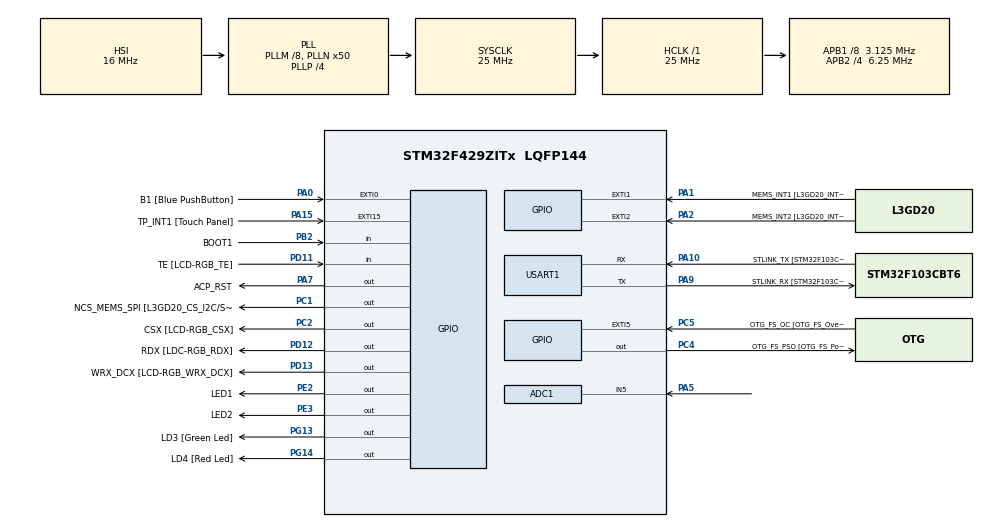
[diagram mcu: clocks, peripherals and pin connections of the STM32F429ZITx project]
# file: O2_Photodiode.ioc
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ADC1.Channel-0\#ChannelRegularConversion=ADC_CHANNEL_5
ADC1.ExternalTrigConv=ADC_EXTERNALTRIGCONV_T2_TRGO
ADC1.NbrOfConversionFlag=1
ADC1.Rank-0\#ChannelRegularConversion=1
ADC1.SamplingTime-0\#ChannelRegularConversion=ADC_SAMPLETIME_480CYCLES
ADC1.master=1
Mcu.Family=STM32F4
Mcu.Name=STM32F429ZITx
Mcu.Package=LQFP144
NVIC.ADC_IRQn=true\:0\:0\:false\:false\:true\:true\:true\:true
NVIC.PriorityGroup=NVIC_PRIORITYGROUP_0
NVIC.USART1_IRQn=true\:0\:0\:false\:false\:true\:true\:true\:true
PA0/WKUP.GPIO_Label=B1 [Blue PushButton]
PA0/WKUP.GPIO_ModeDefaultEXTI=GPIO_MODE_EVT_RISING
PA0/WKUP.GPIO_PuPd=GPIO_NOPULL
PA0/WKUP.Signal=GPXTI0
PA1.GPIO_Label=MEMS_INT1 [L3GD20_INT1]
PA1.GPIO_ModeDefaultEXTI=GPIO_MODE_EVT_RISING
PA1.GPIO_PuPd=GPIO_NOPULL
PA1.Signal=GPXTI1
PA10.GPIO_Label=STLINK_TX [STM32F103CBT6_PA2]
PA10.Mode=Asynchronous
PA10.Signal=USART1_RX
PA11.GPIO_Label=R4
PA11.GPIO_Mode=GPIO_MODE_AF_PP
PA11.GPIO_PuPd=GPIO_NOPULL
PA11.GPIO_Speed=GPIO_SPEED_FREQ_LOW
PA11.Signal=LTDC_R4
PA12.GPIO_Label=R5
PA12.GPIO_Mode=GPIO_MODE_AF_PP
PA12.GPIO_PuPd=GPIO_NOPULL
PA12.GPIO_Speed=GPIO_SPEED_FREQ_LOW
PA12.Signal=LTDC_R5
PA13.GPIO_Label=SWDIO
PA13.Signal=SYS_JTMS-SWDIO
PA14.GPIO_Label=SWCLK
PA14.Signal=SYS_JTCK-SWCLK
PA15.GPIO_Label=TP_INT1 [Touch Panel]
PA15.GPIO_ModeDefaultEXTI=GPIO_MODE_EVT_RISING
PA15.GPIO_PuPd=GPIO_NOPULL
PA15.Signal=GPXTI15
PA2.GPIO_Label=MEMS_INT2 [L3GD20_INT2]
PA2.GPIO_ModeDefaultEXTI=GPIO_MODE_EVT_RISING
PA2.GPIO_PuPd=GPIO_NOPULL
PA2.Signal=GPXTI2
PA3.GPIO_Label=B5
PA3.GPIO_Mode=GPIO_MODE_AF_PP
PA3.GPIO_PuPd=GPIO_NOPULL
PA3.GPIO_Speed=GPIO_SPEED_FREQ_LOW
PA3.Signal=LTDC_B5
PA4.GPIO_Label=VSYNC
PA4.GPIO_Mode=GPIO_MODE_AF_PP
PA4.GPIO_PuPd=GPIO_NOPULL
PA4.GPIO_Speed=GPIO_SPEED_FREQ_LOW
PA4.Signal=LTDC_VSYNC
PA5.Signal=ADCx_IN5
PA6.GPIO_Label=G2
PA6.GPIO_Mode=GPIO_MODE_AF_PP
PA6.GPIO_PuPd=GPIO_NOPULL
PA6.GPIO_Speed=GPIO_SPEED_FREQ_LOW
PA6.Signal=LTDC_G2
PA7.GPIO_Label=ACP_RST
PA7.GPIO_Mode=GPIO_MODE_OUTPUT_PP
PA7.GPIO_PuPd=GPIO_NOPULL
PA7.GPIO_Speed=GPIO_SPEED_FREQ_LOW
PA7.Signal=GPIO_Output
PA8.GPIO_Label=I2C3_SCL [ACP/RF_SCL]
PA8.GPIO_Mode=GPIO_MODE_AF_OD
PA8.GPIO_PuPd=GPIO_NOPULL
PA8.GPIO_Speed=GPIO_SPEED_FREQ_LOW
PA8.Signal=I2C3_SCL
PA9.GPIO_Label=STLINK_RX [STM32F103CBT6_PA3]
PA9.Mode=Asynchronous
PA9.Signal=USART1_TX
PB0.GPIO_Label=R3
PB0.GPIO_Mode=GPIO_MODE_AF_PP
PB0.GPIO_PuPd=GPIO_NOPULL
PB0.GPIO_Speed=GPIO_SPEED_FREQ_LOW
PB0.Signal=LTDC_R3
PB1.GPIO_Label=R6
PB1.GPIO_Mode=GPIO_MODE_AF_PP
PB1.GPIO_PuPd=GPIO_NOPULL
PB1.GPIO_Speed=GPIO_SPEED_FREQ_LOW
PB1.Signal=LTDC_R6
PB10.GPIO_Label=G4
PB10.GPIO_Mode=GPIO_MODE_AF_PP
PB10.GPIO_PuPd=GPIO_NOPULL
PB10.GPIO_Speed=GPIO_SPEED_FREQ_LOW
PB10.Signal=LTDC_G4
PB11.GPIO_Label=G5
PB11.GPIO_Mode=GPIO_MODE_AF_PP
PB11.GPIO_PuPd=GPIO_NOPULL
PB11.GPIO_Speed=GPIO_SPEED_FREQ_LOW
PB11.Signal=LTDC_G5
PB12.GPIO_Label=OTG_HS_ID
PB12.GPIO_Mode=GPIO_MODE_AF_PP
PB12.GPIO_PuPd=GPIO_NOPULL
PB12.GPIO_Speed=GPIO_SPEED_FREQ_LOW
PB12.Signal=USB_OTG_HS_ID
PB13.GPIO_Label=VBUS_HS
PB13.GPIO_Mode=GPIO_MODE_INPUT
PB13.GPIO_PuPd=GPIO_NOPULL
PB13.Signal=USB_OTG_HS_VBUS
PB14.GPIO_Label=OTG_HS_DM
PB14.GPIO_Mode=GPIO_MODE_AF_PP
PB14.GPIO_PuPd=GPIO_NOPULL
PB14.GPIO_Speed=GPIO_SPEED_FREQ_LOW
PB14.Signal=USB_OTG_HS_DM
PB15.GPIO_Label=OTG_HS_DP
PB15.GPIO_Mode=GPIO_MODE_AF_PP
PB15.GPIO_PuPd=GPIO_NOPULL
PB15.GPIO_Speed=GPIO_SPEED_FREQ_LOW
PB15.Signal=USB_OTG_HS_DP
PB2/BOOT1.GPIO_Label=BOOT1
PB2/BOOT1.GPIO_Mode=GPIO_MODE_INPUT
PB2/BOOT1.GPIO_PuPd=GPIO_NOPULL
PB2/BOOT1.Signal=GPIO_Input
PB5.GPIO_Label=SDCKE1
PB5.GPIO_Mode=GPIO_MODE_AF_PP
PB5.GPIO_PuPd=GPIO_NOPULL
PB5.GPIO_Speed=GPIO_SPEED_FREQ_VERY_HIGH
PB5.Signal=FMC_SDCKE1
PB6.GPIO_Label=SDNE1 [SDRAM_CS]
PB6.GPIO_Mode=GPIO_MODE_AF_PP
PB6.GPIO_PuPd=GPIO_NOPULL
PB6.GPIO_Speed=GPIO_SPEED_FREQ_VERY_HIGH
PB6.Signal=FMC_SDNE1
PB8.GPIO_Label=B6
PB8.GPIO_Mode=GPIO_MODE_AF_PP
PB8.GPIO_PuPd=GPIO_NOPULL
PB8.GPIO_Speed=GPIO_SPEED_FREQ_LOW
PB8.Signal=LTDC_B6
PB9.GPIO_Label=B7
PB9.GPIO_Mode=GPIO_MODE_AF_PP
PB9.GPIO_PuPd=GPIO_NOPULL
PB9.GPIO_Speed=GPIO_SPEED_FREQ_LOW
PB9.Signal=LTDC_B7
PC0.GPIO_Label=SDNWE
PC0.GPIO_Mode=GPIO_MODE_AF_PP
PC0.GPIO_PuPd=GPIO_NOPULL
PC0.GPIO_Speed=GPIO_SPEED_FREQ_VERY_HIGH
PC0.Signal=FMC_SDNWE
PC1.GPIO_Label=NCS_MEMS_SPI [L3GD20_CS_I2C/SPI]
PC1.GPIO_Mode=GPIO_MODE_OUTPUT_PP
PC1.GPIO_PuPd=GPIO_NOPULL
PC1.GPIO_Speed=GPIO_SPEED_FREQ_LOW
PC1.Signal=GPIO_Output
PC10.GPIO_Label=R2
PC10.GPIO_Mode=GPIO_MODE_AF_PP
PC10.GPIO_PuPd=GPIO_NOPULL
PC10.GPIO_Speed=GPIO_SPEED_FREQ_LOW
PC10.Signal=LTDC_R2
PC14/OSC32_IN.GPIO_Label=PC14-OSC32_IN
PC14/OSC32_IN.Signal=RCC_OSC32_IN
PC15/OSC32_OUT.GPIO_Label=PC15-OSC32_OUT
PC15/OSC32_OUT.Signal=RCC_OSC32_OUT
PC2.GPIO_Label=CSX [LCD-RGB_CSX]
PC2.GPIO_Mode=GPIO_MODE_OUTPUT_PP
PC2.GPIO_PuPd=GPIO_NOPULL
PC2.GPIO_Speed=GPIO_SPEED_FREQ_LOW
PC2.Signal=GPIO_Output
PC4.GPIO_Label=OTG_FS_PSO [OTG_FS_PowerSwitchOn]
PC4.GPIO_Mode=GPIO_MODE_OUTPUT_PP
PC4.GPIO_PuPd=GPIO_NOPULL
PC4.GPIO_Speed=GPIO_SPEED_FREQ_LOW
PC4.Signal=GPIO_Output
PC5.GPIO_Label=OTG_FS_OC [OTG_FS_OverCurrent]
PC5.GPIO_ModeDefaultEXTI=GPIO_MODE_EVT_RISING
PC5.Signal=GPXTI5
PC6.GPIO_Label=HSYNC
PC6.GPIO_Mode=GPIO_MODE_AF_PP
PC6.GPIO_PuPd=GPIO_NOPULL
PC6.GPIO_Speed=GPIO_SPEED_FREQ_LOW
PC6.Signal=LTDC_HSYNC
PC7.GPIO_Label=G6
PC7.GPIO_Mode=GPIO_MODE_AF_PP
PC7.GPIO_PuPd=GPIO_NOPULL
PC7.GPIO_Speed=GPIO_SPEED_FREQ_LOW
PC7.Signal=LTDC_G6
PC9.GPIO_Label=I2C3_SDA [ACP/RF_SDA]
PC9.GPIO_Mode=GPIO_MODE_AF_OD
PC9.GPIO_PuPd=GPIO_NOPULL
PC9.GPIO_Speed=GPIO_SPEED_FREQ_LOW
PC9.Signal=I2C3_SDA
PD0.GPIO_Label=D2
PD0.GPIO_Mode=GPIO_MODE_AF_PP
PD0.GPIO_PuPd=GPIO_NOPULL
PD0.GPIO_Speed=GPIO_SPEED_FREQ_VERY_HIGH
PD0.Signal=FMC_D2_DA2
PD1.GPIO_Label=D3
PD1.GPIO_Mode=GPIO_MODE_AF_PP
PD1.GPIO_PuPd=GPIO_NOPULL
PD1.GPIO_Speed=GPIO_SPEED_FREQ_VERY_HIGH
PD1.Signal=FMC_D3_DA3
PD10.GPIO_Label=D15
PD10.GPIO_Mode=GPIO_MODE_AF_PP
PD10.GPIO_PuPd=GPIO_NOPULL
PD10.GPIO_Speed=GPIO_SPEED_FREQ_VERY_HIGH
PD10.Signal=FMC_D15_DA15
PD11.GPIO_Label=TE [LCD-RGB_TE]
PD11.GPIO_Mode=GPIO_MODE_INPUT
PD11.GPIO_PuPd=GPIO_NOPULL
PD11.Signal=GPIO_Input
PD12.GPIO_Label=RDX [LDC-RGB_RDX]
PD12.GPIO_Mode=GPIO_MODE_OUTPUT_PP
PD12.GPIO_PuPd=GPIO_NOPULL
PD12.GPIO_Speed=GPIO_SPEED_FREQ_LOW
PD12.Signal=GPIO_Output
PD13.GPIO_Label=WRX_DCX [LCD-RGB_WRX_DCX]
PD13.GPIO_Mode=GPIO_MODE_OUTPUT_PP
PD13.GPIO_PuPd=GPIO_NOPULL
PD13.GPIO_Speed=GPIO_SPEED_FREQ_LOW
PD13.Signal=GPIO_Output
PD14.GPIO_Label=D0
PD14.GPIO_Mode=GPIO_MODE_AF_PP
PD14.GPIO_PuPd=GPIO_NOPULL
PD14.GPIO_Speed=GPIO_SPEED_FREQ_VERY_HIGH
PD14.Signal=FMC_D0_DA0
PD15.GPIO_Label=D1
PD15.GPIO_Mode=GPIO_MODE_AF_PP
PD15.GPIO_PuPd=GPIO_NOPULL
PD15.GPIO_Speed=GPIO_SPEED_FREQ_VERY_HIGH
PD15.Signal=FMC_D1_DA1
PD3.GPIO_Label=G7
PD3.GPIO_Mode=GPIO_MODE_AF_PP
PD3.GPIO_PuPd=GPIO_NOPULL
PD3.GPIO_Speed=GPIO_SPEED_FREQ_LOW
PD3.Signal=LTDC_G7
PD6.GPIO_Label=B2
PD6.GPIO_Mode=GPIO_MODE_AF_PP
PD6.GPIO_PuPd=GPIO_NOPULL
PD6.GPIO_Speed=GPIO_SPEED_FREQ_LOW
PD6.Signal=LTDC_B2
PD8.GPIO_Label=D13
PD8.GPIO_Mode=GPIO_MODE_AF_PP
PD8.GPIO_PuPd=GPIO_NOPULL
PD8.GPIO_Speed=GPIO_SPEED_FREQ_VERY_HIGH
PD8.Signal=FMC_D13_DA13
PD9.GPIO_Label=D14
PD9.GPIO_Mode=GPIO_MODE_AF_PP
PD9.GPIO_PuPd=GPIO_NOPULL
PD9.GPIO_Speed=GPIO_SPEED_FREQ_VERY_HIGH
PD9.Signal=FMC_D14_DA14
PE0.GPIO_Label=NBL0 [SDRAM_LDQM]
PE0.GPIO_Mode=GPIO_MODE_AF_PP
PE0.GPIO_PuPd=GPIO_NOPULL
PE0.GPIO_Speed=GPIO_SPEED_FREQ_VERY_HIGH
PE0.Signal=FMC_NBL0
PE1.GPIO_Label=NBL1 [SDRAM_UDQM]
PE1.GPIO_Mode=GPIO_MODE_AF_PP
PE1.GPIO_PuPd=GPIO_NOPULL
PE1.GPIO_Speed=GPIO_SPEED_FREQ_VERY_HIGH
PE1.Signal=FMC_NBL1
PE10.GPIO_Label=D7
PE10.GPIO_Mode=GPIO_MODE_AF_PP
PE10.GPIO_PuPd=GPIO_NOPULL
PE10.GPIO_Speed=GPIO_SPEED_FREQ_VERY_HIGH
PE10.Signal=FMC_D7_DA7
PE11.GPIO_Label=D8
PE11.GPIO_Mode=GPIO_MODE_AF_PP
PE11.GPIO_PuPd=GPIO_NOPULL
PE11.GPIO_Speed=GPIO_SPEED_FREQ_VERY_HIGH
PE11.Signal=FMC_D8_DA8
PE12.GPIO_Label=D9
PE12.GPIO_Mode=GPIO_MODE_AF_PP
PE12.GPIO_PuPd=GPIO_NOPULL
PE12.GPIO_Speed=GPIO_SPEED_FREQ_VERY_HIGH
PE12.Signal=FMC_D9_DA9
PE13.GPIO_Label=D10
PE13.GPIO_Mode=GPIO_MODE_AF_PP
PE13.GPIO_PuPd=GPIO_NOPULL
PE13.GPIO_Speed=GPIO_SPEED_FREQ_VERY_HIGH
PE13.Signal=FMC_D10_DA10
PE14.GPIO_Label=D11
PE14.GPIO_Mode=GPIO_MODE_AF_PP
PE14.GPIO_PuPd=GPIO_NOPULL
PE14.GPIO_Speed=GPIO_SPEED_FREQ_VERY_HIGH
PE14.Signal=FMC_D11_DA11
PE15.GPIO_Label=D12
PE15.GPIO_Mode=GPIO_MODE_AF_PP
PE15.GPIO_PuPd=GPIO_NOPULL
PE15.GPIO_Speed=GPIO_SPEED_FREQ_VERY_HIGH
PE15.Signal=FMC_D12_DA12
PE2.GPIO_Label=LED1
PE2.PinState=GPIO_PIN_SET
PE2.Signal=GPIO_Output
PE3.GPIO_Label=LED2
PE3.PinState=GPIO_PIN_SET
PE3.Signal=GPIO_Output
PE7.GPIO_Label=D4
PE7.GPIO_Mode=GPIO_MODE_AF_PP
PE7.GPIO_PuPd=GPIO_NOPULL
PE7.GPIO_Speed=GPIO_SPEED_FREQ_VERY_HIGH
PE7.Signal=FMC_D4_DA4
PE8.GPIO_Label=D5
PE8.GPIO_Mode=GPIO_MODE_AF_PP
PE8.GPIO_PuPd=GPIO_NOPULL
PE8.GPIO_Speed=GPIO_SPEED_FREQ_VERY_HIGH
PE8.Signal=FMC_D5_DA5
PE9.GPIO_Label=D6
PE9.GPIO_Mode=GPIO_MODE_AF_PP
PE9.GPIO_PuPd=GPIO_NOPULL
PE9.GPIO_Speed=GPIO_SPEED_FREQ_VERY_HIGH
PE9.Signal=FMC_D6_DA6
PF0.GPIO_Label=A0
PF0.GPIO_Mode=GPIO_MODE_AF_PP
PF0.GPIO_PuPd=GPIO_NOPULL
PF0.GPIO_Speed=GPIO_SPEED_FREQ_VERY_HIGH
PF0.Signal=FMC_A0
PF1.GPIO_Label=A1
PF1.GPIO_Mode=GPIO_MODE_AF_PP
PF1.GPIO_PuPd=GPIO_NOPULL
PF1.GPIO_Speed=GPIO_SPEED_FREQ_VERY_HIGH
PF1.Signal=FMC_A1
PF10.GPIO_Label=ENABLE [LCD-RGB_ENABLE]
PF10.GPIO_Mode=GPIO_MODE_AF_PP
PF10.GPIO_PuPd=GPIO_NOPULL
PF10.GPIO_Speed=GPIO_SPEED_FREQ_LOW
PF10.Signal=LTDC_DE
PF11.GPIO_Label=SDNRAS
PF11.GPIO_Mode=GPIO_MODE_AF_PP
PF11.GPIO_PuPd=GPIO_NOPULL
PF11.GPIO_Speed=GPIO_SPEED_FREQ_VERY_HIGH
PF11.Signal=FMC_SDNRAS
PF12.GPIO_Label=A6
PF12.GPIO_Mode=GPIO_MODE_AF_PP
PF12.GPIO_PuPd=GPIO_NOPULL
PF12.GPIO_Speed=GPIO_SPEED_FREQ_VERY_HIGH
PF12.Signal=FMC_A6
PF13.GPIO_Label=A7
PF13.GPIO_Mode=GPIO_MODE_AF_PP
PF13.GPIO_PuPd=GPIO_NOPULL
PF13.GPIO_Speed=GPIO_SPEED_FREQ_VERY_HIGH
PF13.Signal=FMC_A7
PF14.GPIO_Label=A8
PF14.GPIO_Mode=GPIO_MODE_AF_PP
PF14.GPIO_PuPd=GPIO_NOPULL
PF14.GPIO_Speed=GPIO_SPEED_FREQ_VERY_HIGH
PF14.Signal=FMC_A8
PF15.GPIO_Label=A9
PF15.GPIO_Mode=GPIO_MODE_AF_PP
PF15.GPIO_PuPd=GPIO_NOPULL
PF15.GPIO_Speed=GPIO_SPEED_FREQ_VERY_HIGH
PF15.Signal=FMC_A9
PF2.GPIO_Label=A2
PF2.GPIO_Mode=GPIO_MODE_AF_PP
PF2.GPIO_PuPd=GPIO_NOPULL
PF2.GPIO_Speed=GPIO_SPEED_FREQ_VERY_HIGH
PF2.Signal=FMC_A2
PF3.GPIO_Label=A3
PF3.GPIO_Mode=GPIO_MODE_AF_PP
PF3.GPIO_PuPd=GPIO_NOPULL
PF3.GPIO_Speed=GPIO_SPEED_FREQ_VERY_HIGH
PF3.Signal=FMC_A3
PF4.GPIO_Label=A4
PF4.GPIO_Mode=GPIO_MODE_AF_PP
PF4.GPIO_PuPd=GPIO_NOPULL
PF4.GPIO_Speed=GPIO_SPEED_FREQ_VERY_HIGH
PF4.Signal=FMC_A4
PF5.GPIO_Label=A5
PF5.GPIO_Mode=GPIO_MODE_AF_PP
PF5.GPIO_PuPd=GPIO_NOPULL
PF5.GPIO_Speed=GPIO_SPEED_FREQ_VERY_HIGH
PF5.Signal=FMC_A5
PF7.GPIO_Label=SPI5_SCK [L3GD20_SCL/SPC]
PF7.GPIO_Mode=GPIO_MODE_AF_PP
PF7.GPIO_PuPd=GPIO_NOPULL
PF7.GPIO_Speed=GPIO_SPEED_FREQ_LOW
PF7.Signal=SPI5_SCK
PF8.GPIO_Label=SPI5_MISO [L3GD20_SDO]
PF8.GPIO_Mode=GPIO_MODE_AF_PP
PF8.GPIO_PuPd=GPIO_NOPULL
PF8.GPIO_Speed=GPIO_SPEED_FREQ_LOW
PF8.Signal=SPI5_MISO
PF9.GPIO_Label=SPI5_MOSI [L3GD20_SDA/SDI/SDO]
PF9.GPIO_Mode=GPIO_MODE_AF_PP
PF9.GPIO_PuPd=GPIO_NOPULL
PF9.GPIO_Speed=GPIO_SPEED_FREQ_LOW
PF9.Signal=SPI5_MOSI
PG0.GPIO_Label=A10
PG0.GPIO_Mode=GPIO_MODE_AF_PP
PG0.GPIO_PuPd=GPIO_NOPULL
PG0.GPIO_Speed=GPIO_SPEED_FREQ_VERY_HIGH
PG0.Signal=FMC_A10
PG1.GPIO_Label=A11
PG1.GPIO_Mode=GPIO_MODE_AF_PP
PG1.GPIO_PuPd=GPIO_NOPULL
PG1.GPIO_Speed=GPIO_SPEED_FREQ_VERY_HIGH
PG1.Signal=FMC_A11
PG10.GPIO_Label=G3
PG10.GPIO_Mode=GPIO_MODE_AF_PP
PG10.GPIO_PuPd=GPIO_NOPULL
PG10.GPIO_Speed=GPIO_SPEED_FREQ_LOW
PG10.Signal=LTDC_G3
PG11.GPIO_Label=B3
PG11.GPIO_Mode=GPIO_MODE_AF_PP
PG11.GPIO_PuPd=GPIO_NOPULL
PG11.GPIO_Speed=GPIO_SPEED_FREQ_LOW
PG11.Signal=LTDC_B3
PG12.GPIO_Label=B4
PG12.GPIO_Mode=GPIO_MODE_AF_PP
PG12.GPIO_PuPd=GPIO_NOPULL
PG12.GPIO_Speed=GPIO_SPEED_FREQ_LOW
PG12.Signal=LTDC_B4
PG13.GPIO_Label=LD3 [Green Led]
PG13.GPIO_Mode=GPIO_MODE_OUTPUT_PP
PG13.GPIO_PuPd=GPIO_NOPULL
PG13.GPIO_Speed=GPIO_SPEED_FREQ_LOW
PG13.Signal=GPIO_Output
PG14.GPIO_Label=LD4 [Red Led]
PG14.GPIO_Mode=GPIO_MODE_OUTPUT_PP
PG14.GPIO_PuPd=GPIO_NOPULL
PG14.GPIO_Speed=GPIO_SPEED_FREQ_LOW
PG14.Signal=GPIO_Output
PG15.GPIO_Label=SDNCAS
PG15.GPIO_Mode=GPIO_MODE_AF_PP
PG15.GPIO_PuPd=GPIO_NOPULL
PG15.GPIO_Speed=GPIO_SPEED_FREQ_VERY_HIGH
PG15.Signal=FMC_SDNCAS
PG4.GPIO_Label=BA0
PG4.GPIO_Mode=GPIO_MODE_AF_PP
PG4.GPIO_PuPd=GPIO_NOPULL
PG4.GPIO_Speed=GPIO_SPEED_FREQ_VERY_HIGH
PG4.Signal=FMC_A14_BA0
PG5.GPIO_Label=BA1
PG5.GPIO_Mode=GPIO_MODE_AF_PP
PG5.GPIO_PuPd=GPIO_NOPULL
PG5.GPIO_Speed=GPIO_SPEED_FREQ_VERY_HIGH
PG5.Signal=FMC_A15_BA1
PG6.GPIO_Label=R7
PG6.GPIO_Mode=GPIO_MODE_AF_PP
PG6.GPIO_PuPd=GPIO_NOPULL
PG6.GPIO_Speed=GPIO_SPEED_FREQ_LOW
PG6.Signal=LTDC_R7
PG7.GPIO_Label=DOTCLK [LCT-RGB_DOTCLK]
PG7.GPIO_Mode=GPIO_MODE_AF_PP
PG7.GPIO_PuPd=GPIO_NOPULL
PG7.GPIO_Speed=GPIO_SPEED_FREQ_LOW
PG7.Signal=LTDC_CLK
PG8.GPIO_Label=SDCLK
PG8.GPIO_Mode=GPIO_MODE_AF_PP
PG8.GPIO_PuPd=GPIO_NOPULL
PG8.GPIO_Speed=GPIO_SPEED_FREQ_VERY_HIGH
PG8.Signal=FMC_SDCLK
PH0/OSC_IN.GPIO_Label=PH0-OSC_IN
PH0/OSC_IN.Signal=RCC_OSC_IN
PH1/OSC_OUT.GPIO_Label=PH1-OSC_OUT
PH1/OSC_OUT.Signal=RCC_OSC_OUT
ProjectManager.HeapSize=0x200
ProjectManager.StackSize=0x400
ProjectManager.TargetToolchain=STM32CubeIDE
RCC.48MHZClocksFreq_Value=14285714.285714285
RCC.AHBFreq_Value=25000000
RCC.APB1CLKDivider=RCC_HCLK_DIV8
RCC.APB1Freq_Value=3125000
RCC.APB1TimFreq_Value=6250000
RCC.APB2CLKDivider=RCC_HCLK_DIV4
RCC.APB2Freq_Value=6250000
RCC.APB2TimFreq_Value=12500000
RCC.CortexFreq_Value=25000000
RCC.HCLKFreq_Value=25000000
RCC.HSE_VALUE=8000000
RCC.HSI_VALUE=16000000
RCC.LSE_VALUE=32768
RCC.PLLM=8
RCC.PLLN=50
RCC.PLLP=RCC_PLLP_DIV4
RCC.PLLQ=7
RCC.SYSCLKFreq_VALUE=25000000
RCC.SYSCLKSource=RCC_SYSCLKSOURCE_PLLCLK
RCC.VCOOutputFreq_Value=100000000
SH.ADCx_IN5.0=ADC1_IN5,IN5
SH.FMC_A0.0=FMC_A0
SH.FMC_A1.0=FMC_A1
SH.FMC_A10.0=FMC_A10
SH.FMC_A11.0=FMC_A11
SH.FMC_A14_BA0.0=FMC_BA0
SH.FMC_A15_BA1.0=FMC_BA1
SH.FMC_A2.0=FMC_A2
SH.FMC_A3.0=FMC_A3
SH.FMC_A4.0=FMC_A4
SH.FMC_A5.0=FMC_A5
SH.FMC_A6.0=FMC_A6
SH.FMC_A7.0=FMC_A7
SH.FMC_A8.0=FMC_A8
SH.FMC_A9.0=FMC_A9
SH.FMC_D0_DA0.0=FMC_D0
SH.FMC_D10_DA10.0=FMC_D10
SH.FMC_D11_DA11.0=FMC_D11
SH.FMC_D12_DA12.0=FMC_D12
SH.FMC_D13_DA13.0=FMC_D13
SH.FMC_D14_DA14.0=FMC_D14
SH.FMC_D15_DA15.0=FMC_D15
SH.FMC_D1_DA1.0=FMC_D1
SH.FMC_D2_DA2.0=FMC_D2
SH.FMC_D3_DA3.0=FMC_D3
SH.FMC_D4_DA4.0=FMC_D4
SH.FMC_D5_DA5.0=FMC_D5
SH.FMC_D6_DA6.0=FMC_D6
SH.FMC_D7_DA7.0=FMC_D7
SH.FMC_D8_DA8.0=FMC_D8
SH.FMC_D9_DA9.0=FMC_D9
SH.FMC_NBL0.0=FMC_NBL0
SH.FMC_NBL1.0=FMC_NBL1
SH.FMC_SDCLK.0=FMC_SDCLK
SH.FMC_SDNCAS.0=FMC_SDNCAS
SH.FMC_SDNRAS.0=FMC_SDNRAS
SH.FMC_SDNWE.0=FMC_SDNWE
TIM2.Period=999
TIM2.Prescaler=24
TIM2.TIM_MasterOutputTrigger=TIM_TRGO_UPDATE
USART1.VirtualMode=VM_ASYNC
VP_TIM2_VS_ClockSourceINT.Mode=Internal
board=STM32F429I-DISC1

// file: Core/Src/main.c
/* USER CODE BEGIN Header */
/**
  ******************************************************************************
  * @file           : main.c
  * @brief          : Main program body
  ******************************************************************************
  * @attention
  *
  * Copyright (c) 2026 STMicroelectronics.
  * All rights reserved.
  *
  * This software is licensed under terms that can be found in the LICENSE file
  * in the root directory of this software component.
  * If no LICENSE file comes with this software, it is provided AS-IS.
  *
  ******************************************************************************
  */
/* USER CODE END Header */
#include "main.h"

/* USER CODE BEGIN Includes */
#include <stdio.h>
#include <stdlib.h>
#include <string.h>

/* USER CODE END Includes */

/* USER CODE BEGIN PD */
#define TIM_TICK_HZ   250000U
#define SLOTS         3U

/* USER CODE END PD */

ADC_HandleTypeDef hadc1;

TIM_HandleTypeDef htim2;

UART_HandleTypeDef huart1;

/* USER CODE BEGIN PV */
volatile uint16_t dark, led1_val, led2_val;
volatile int16_t sig1, sig2;
volatile uint8_t led1_en = 1, led2_en = 1;
volatile uint8_t frame_ready;
volatile uint8_t streaming;
static uint8_t phase;
static uint8_t rx_byte;
static char cmd_buf[32];
static uint8_t cmd_len;

/* USER CODE END PV */

void SystemClock_Config(void);
static void MX_GPIO_Init(void);
static void MX_ADC1_Init(void);
static void MX_TIM2_Init(void);
static void MX_USART1_UART_Init(void);

/* USER CODE BEGIN 0 */
void HAL_ADC_ConvCpltCallback(ADC_HandleTypeDef *hadc)
{
  uint16_t val = HAL_ADC_GetValue(hadc);

  switch (phase)
  {
  case 0:
    dark = val;
    if (led1_en)
      HAL_GPIO_WritePin(LED1_GPIO_Port, LED1_Pin, GPIO_PIN_RESET);
    phase = 1;
    break;

  case 1:
    led1_val = val;
    HAL_GPIO_WritePin(LED1_GPIO_Port, LED1_Pin, GPIO_PIN_SET);
    if (led2_en)
      HAL_GPIO_WritePin(LED2_GPIO_Port, LED2_Pin, GPIO_PIN_RESET);
    phase = 2;
    break;

  default:
    led2_val = val;
    HAL_GPIO_WritePin(LED2_GPIO_Port, LED2_Pin, GPIO_PIN_SET);
    sig1 = (int16_t)led1_val - (int16_t)dark;
    sig2 = (int16_t)led2_val - (int16_t)dark;
    frame_ready = 1;
    phase = 0;
    break;
  }
}

static void set_rate(uint32_t fps)
{
  if (fps < 10)
    fps = 10;
  if (fps > 200)
    fps = 200;

  __HAL_TIM_SET_AUTORELOAD(&htim2, TIM_TICK_HZ / (SLOTS * fps) - 1);
  __HAL_TIM_SET_COUNTER(&htim2, 0);
}

/* START | STOP | LED,<mask> | RATE,<fps> */
static void handle_cmd(const char *cmd)
{
  if (strcmp(cmd, "START") == 0)
  {
    streaming = 1;
  }
  else if (strcmp(cmd, "STOP") == 0)
  {
    streaming = 0;
  }
  else if (strncmp(cmd, "LED,", 4) == 0)
  {
    int mask = atoi(cmd + 4);
    led1_en = mask & 1;
    led2_en = (mask >> 1) & 1;
  }
  else if (strncmp(cmd, "RATE,", 5) == 0)
  {
    set_rate((uint32_t)atoi(cmd + 5));
  }
}

void HAL_UART_RxCpltCallback(UART_HandleTypeDef *huart)
{
  if (rx_byte == '\n' || rx_byte == '\r')
  {
    cmd_buf[cmd_len] = '\0';
    if (cmd_len > 0)
      handle_cmd(cmd_buf);
    cmd_len = 0;
  }
  else if (cmd_len < sizeof(cmd_buf) - 1)
  {
    cmd_buf[cmd_len++] = (char)rx_byte;
  }

  HAL_UART_Receive_IT(huart, &rx_byte, 1);
}

/* USER CODE END 0 */

int main(void)
{

  /* MCU Configuration--------------------------------------------------------*/

  /* Reset of all peripherals, Initializes the Flash interface and the Systick. */
  HAL_Init();

  /* Configure the system clock */
  SystemClock_Config();

  /* Initialize all configured peripherals */
  MX_GPIO_Init();
  MX_ADC1_Init();
  MX_TIM2_Init();
  MX_USART1_UART_Init();
  /* USER CODE BEGIN 2 */
  HAL_ADC_Start_IT(&hadc1);
  HAL_TIM_Base_Start(&htim2);
  HAL_UART_Receive_IT(&huart1, &rx_byte, 1);

  /* USER CODE END 2 */

  /* Infinite loop */
  while (1)
  {

    /* USER CODE BEGIN 3 */
    /* hat hatasindan sonra alim durursa yeniden baslat */
    if (huart1.RxState == HAL_UART_STATE_READY)
      HAL_UART_Receive_IT(&huart1, &rx_byte, 1);

    if (frame_ready)
    {
      frame_ready = 0;
      if (streaming)
      {
        char line[32];
        int n = snprintf(line, sizeof(line), "%u,%u,%u\n",
                         (unsigned)dark, (unsigned)led1_val, (unsigned)led2_val);
        HAL_UART_Transmit(&huart1, (uint8_t *)line, (uint16_t)n, 10);
      }
    }
  }
  /* USER CODE END 3 */
}

void SystemClock_Config(void)
{
  RCC_OscInitTypeDef RCC_OscInitStruct = {0};
  RCC_ClkInitTypeDef RCC_ClkInitStruct = {0};

  /** Configure the main internal regulator output voltage
  */
  __HAL_RCC_PWR_CLK_ENABLE();
  __HAL_PWR_VOLTAGESCALING_CONFIG(PWR_REGULATOR_VOLTAGE_SCALE3);

  /** Initializes the RCC Oscillators according to the specified parameters
  * in the RCC_OscInitTypeDef structure.
  */
  RCC_OscInitStruct.OscillatorType = RCC_OSCILLATORTYPE_HSI;
  RCC_OscInitStruct.HSIState = RCC_HSI_ON;
  RCC_OscInitStruct.HSICalibrationValue = RCC_HSICALIBRATION_DEFAULT;
  RCC_OscInitStruct.PLL.PLLState = RCC_PLL_ON;
  RCC_OscInitStruct.PLL.PLLSource = RCC_PLLSOURCE_HSI;
  RCC_OscInitStruct.PLL.PLLM = 8;
  RCC_OscInitStruct.PLL.PLLN = 50;
  RCC_OscInitStruct.PLL.PLLP = RCC_PLLP_DIV4;
  RCC_OscInitStruct.PLL.PLLQ = 7;
  if (HAL_RCC_OscConfig(&RCC_OscInitStruct) != HAL_OK)
  {
    Error_Handler();
  }

  /** Initializes the CPU, AHB and APB buses clocks
  */
  RCC_ClkInitStruct.ClockType = RCC_CLOCKTYPE_HCLK|RCC_CLOCKTYPE_SYSCLK
                              |RCC_CLOCKTYPE_PCLK1|RCC_CLOCKTYPE_PCLK2;
  RCC_ClkInitStruct.SYSCLKSource = RCC_SYSCLKSOURCE_PLLCLK;
  RCC_ClkInitStruct.AHBCLKDivider = RCC_SYSCLK_DIV1;
  RCC_ClkInitStruct.APB1CLKDivider = RCC_HCLK_DIV8;
  RCC_ClkInitStruct.APB2CLKDivider = RCC_HCLK_DIV4;

  if (HAL_RCC_ClockConfig(&RCC_ClkInitStruct, FLASH_LATENCY_0) != HAL_OK)
  {
    Error_Handler();
  }
}

static void MX_ADC1_Init(void)
{

  ADC_ChannelConfTypeDef sConfig = {0};

  /** Configure the global features of the ADC (Clock, Resolution, Data Alignment and number of conversion)
  */
  hadc1.Instance = ADC1;
  hadc1.Init.ClockPrescaler = ADC_CLOCK_SYNC_PCLK_DIV2;
  hadc1.Init.Resolution = ADC_RESOLUTION_12B;
  hadc1.Init.ScanConvMode = DISABLE;
  hadc1.Init.ContinuousConvMode = DISABLE;
  hadc1.Init.DiscontinuousConvMode = DISABLE;
  hadc1.Init.ExternalTrigConvEdge = ADC_EXTERNALTRIGCONVEDGE_RISING;
  hadc1.Init.ExternalTrigConv = ADC_EXTERNALTRIGCONV_T2_TRGO;
  hadc1.Init.DataAlign = ADC_DATAALIGN_RIGHT;
  hadc1.Init.NbrOfConversion = 1;
  hadc1.Init.DMAContinuousRequests = DISABLE;
  hadc1.Init.EOCSelection = ADC_EOC_SINGLE_CONV;
  if (HAL_ADC_Init(&hadc1) != HAL_OK)
  {
    Error_Handler();
  }

  /** Configure for the selected ADC regular channel its corresponding rank in the sequencer and its sample time.
  */
  sConfig.Channel = ADC_CHANNEL_5;
  sConfig.Rank = 1;
  sConfig.SamplingTime = ADC_SAMPLETIME_480CYCLES;
  if (HAL_ADC_ConfigChannel(&hadc1, &sConfig) != HAL_OK)
  {
    Error_Handler();
  }

}

static void MX_TIM2_Init(void)
{

  TIM_ClockConfigTypeDef sClockSourceConfig = {0};
  TIM_MasterConfigTypeDef sMasterConfig = {0};

  htim2.Instance = TIM2;
  htim2.Init.Prescaler = 24;
  htim2.Init.CounterMode = TIM_COUNTERMODE_UP;
  htim2.Init.Period = 999;
  htim2.Init.ClockDivision = TIM_CLOCKDIVISION_DIV1;
  htim2.Init.AutoReloadPreload = TIM_AUTORELOAD_PRELOAD_DISABLE;
  if (HAL_TIM_Base_Init(&htim2) != HAL_OK)
  {
    Error_Handler();
  }
  sClockSourceConfig.ClockSource = TIM_CLOCKSOURCE_INTERNAL;
  if (HAL_TIM_ConfigClockSource(&htim2, &sClockSourceConfig) != HAL_OK)
  {
    Error_Handler();
  }
  sMasterConfig.MasterOutputTrigger = TIM_TRGO_UPDATE;
  sMasterConfig.MasterSlaveMode = TIM_MASTERSLAVEMODE_DISABLE;
  if (HAL_TIMEx_MasterConfigSynchronization(&htim2, &sMasterConfig) != HAL_OK)
  {
    Error_Handler();
  }

}

static void MX_USART1_UART_Init(void)
{

  huart1.Instance = USART1;
  huart1.Init.BaudRate = 115200;
  huart1.Init.WordLength = UART_WORDLENGTH_8B;
  huart1.Init.StopBits = UART_STOPBITS_1;
  huart1.Init.Parity = UART_PARITY_NONE;
  huart1.Init.Mode = UART_MODE_TX_RX;
  huart1.Init.HwFlowCtl = UART_HWCONTROL_NONE;
  huart1.Init.OverSampling = UART_OVERSAMPLING_16;
  if (HAL_UART_Init(&huart1) != HAL_OK)
  {
    Error_Handler();
  }

}

static void MX_GPIO_Init(void)
{
  GPIO_InitTypeDef GPIO_InitStruct = {0};

  /* GPIO Ports Clock Enable */
  __HAL_RCC_GPIOE_CLK_ENABLE();
  __HAL_RCC_GPIOC_CLK_ENABLE();
  __HAL_RCC_GPIOF_CLK_ENABLE();
  __HAL_RCC_GPIOH_CLK_ENABLE();
  __HAL_RCC_GPIOA_CLK_ENABLE();
  __HAL_RCC_GPIOB_CLK_ENABLE();
  __HAL_RCC_GPIOG_CLK_ENABLE();
  __HAL_RCC_GPIOD_CLK_ENABLE();

  /*Configure GPIO pin Output Level */
  HAL_GPIO_WritePin(GPIOE, LED1_Pin|LED2_Pin, GPIO_PIN_SET);

  /*Configure GPIO pin Output Level */
  HAL_GPIO_WritePin(GPIOC, NCS_MEMS_SPI_Pin|CSX_Pin|OTG_FS_PSO_Pin, GPIO_PIN_RESET);

  /*Configure GPIO pin Output Level */
  HAL_GPIO_WritePin(ACP_RST_GPIO_Port, ACP_RST_Pin, GPIO_PIN_RESET);

  /*Configure GPIO pin Output Level */
  HAL_GPIO_WritePin(GPIOD, RDX_Pin|WRX_DCX_Pin, GPIO_PIN_RESET);

  /*Configure GPIO pin Output Level */
  HAL_GPIO_WritePin(GPIOG, LD3_Pin|LD4_Pin, GPIO_PIN_RESET);

  /*Configure GPIO pins : LED1_Pin LED2_Pin */
  GPIO_InitStruct.Pin = LED1_Pin|LED2_Pin;
  GPIO_InitStruct.Mode = GPIO_MODE_OUTPUT_PP;
  GPIO_InitStruct.Pull = GPIO_NOPULL;
  GPIO_InitStruct.Speed = GPIO_SPEED_FREQ_LOW;
  HAL_GPIO_Init(GPIOE, &GPIO_InitStruct);

  /*Configure GPIO pins : A0_Pin A1_Pin A2_Pin A3_Pin
                           A4_Pin A5_Pin SDNRAS_Pin A6_Pin
                           A7_Pin A8_Pin A9_Pin */
  GPIO_InitStruct.Pin = A0_Pin|A1_Pin|A2_Pin|A3_Pin
                          |A4_Pin|A5_Pin|SDNRAS_Pin|A6_Pin
                          |A7_Pin|A8_Pin|A9_Pin;
  GPIO_InitStruct.Mode = GPIO_MODE_AF_PP;
  GPIO_InitStruct.Pull = GPIO_NOPULL;
  GPIO_InitStruct.Speed = GPIO_SPEED_FREQ_VERY_HIGH;
  GPIO_InitStruct.Alternate = GPIO_AF12_FMC;
  HAL_GPIO_Init(GPIOF, &GPIO_InitStruct);

  /*Configure GPIO pins : SPI5_SCK_Pin SPI5_MISO_Pin SPI5_MOSI_Pin */
  GPIO_InitStruct.Pin = SPI5_SCK_Pin|SPI5_MISO_Pin|SPI5_MOSI_Pin;
  GPIO_InitStruct.Mode = GPIO_MODE_AF_PP;
  GPIO_InitStruct.Pull = GPIO_NOPULL;
  GPIO_InitStruct.Speed = GPIO_SPEED_FREQ_LOW;
  GPIO_InitStruct.Alternate = GPIO_AF5_SPI5;
  HAL_GPIO_Init(GPIOF, &GPIO_InitStruct);

  /*Configure GPIO pin : ENABLE_Pin */
  GPIO_InitStruct.Pin = ENABLE_Pin;
  GPIO_InitStruct.Mode = GPIO_MODE_AF_PP;
  GPIO_InitStruct.Pull = GPIO_NOPULL;
  GPIO_InitStruct.Speed = GPIO_SPEED_FREQ_LOW;
  GPIO_InitStruct.Alternate = GPIO_AF14_LTDC;
  HAL_GPIO_Init(ENABLE_GPIO_Port, &GPIO_InitStruct);

  /*Configure GPIO pin : SDNWE_Pin */
  GPIO_InitStruct.Pin = SDNWE_Pin;
  GPIO_InitStruct.Mode = GPIO_MODE_AF_PP;
  GPIO_InitStruct.Pull = GPIO_NOPULL;
  GPIO_InitStruct.Speed = GPIO_SPEED_FREQ_VERY_HIGH;
  GPIO_InitStruct.Alternate = GPIO_AF12_FMC;
  HAL_GPIO_Init(SDNWE_GPIO_Port, &GPIO_InitStruct);

  /*Configure GPIO pins : NCS_MEMS_SPI_Pin CSX_Pin OTG_FS_PSO_Pin */
  GPIO_InitStruct.Pin = NCS_MEMS_SPI_Pin|CSX_Pin|OTG_FS_PSO_Pin;
  GPIO_InitStruct.Mode = GPIO_MODE_OUTPUT_PP;
  GPIO_InitStruct.Pull = GPIO_NOPULL;
  GPIO_InitStruct.Speed = GPIO_SPEED_FREQ_LOW;
  HAL_GPIO_Init(GPIOC, &GPIO_InitStruct);

  /*Configure GPIO pins : B1_Pin MEMS_INT1_Pin MEMS_INT2_Pin TP_INT1_Pin */
  GPIO_InitStruct.Pin = B1_Pin|MEMS_INT1_Pin|MEMS_INT2_Pin|TP_INT1_Pin;
  GPIO_InitStruct.Mode = GPIO_MODE_EVT_RISING;
  GPIO_InitStruct.Pull = GPIO_NOPULL;
  HAL_GPIO_Init(GPIOA, &GPIO_InitStruct);

  /*Configure GPIO pins : B5_Pin VSYNC_Pin G2_Pin R4_Pin
                           R5_Pin */
  GPIO_InitStruct.Pin = B5_Pin|VSYNC_Pin|G2_Pin|R4_Pin
                          |R5_Pin;
  GPIO_InitStruct.Mode = GPIO_MODE_AF_PP;
  GPIO_InitStruct.Pull = GPIO_NOPULL;
  GPIO_InitStruct.Speed = GPIO_SPEED_FREQ_LOW;
  GPIO_InitStruct.Alternate = GPIO_AF14_LTDC;
  HAL_GPIO_Init(GPIOA, &GPIO_InitStruct);

  /*Configure GPIO pin : ACP_RST_Pin */
  GPIO_InitStruct.Pin = ACP_RST_Pin;
  GPIO_InitStruct.Mode = GPIO_MODE_OUTPUT_PP;
  GPIO_InitStruct.Pull = GPIO_NOPULL;
  GPIO_InitStruct.Speed = GPIO_SPEED_FREQ_LOW;
  HAL_GPIO_Init(ACP_RST_GPIO_Port, &GPIO_InitStruct);

  /*Configure GPIO pin : OTG_FS_OC_Pin */
  GPIO_InitStruct.Pin = OTG_FS_OC_Pin;
  GPIO_InitStruct.Mode = GPIO_MODE_EVT_RISING;
  GPIO_InitStruct.Pull = GPIO_NOPULL;
  HAL_GPIO_Init(OTG_FS_OC_GPIO_Port, &GPIO_InitStruct);

  /*Configure GPIO pins : R3_Pin R6_Pin */
  GPIO_InitStruct.Pin = R3_Pin|R6_Pin;
  GPIO_InitStruct.Mode = GPIO_MODE_AF_PP;
  GPIO_InitStruct.Pull = GPIO_NOPULL;
  GPIO_InitStruct.Speed = GPIO_SPEED_FREQ_LOW;
  GPIO_InitStruct.Alternate = GPIO_AF9_LTDC;
  HAL_GPIO_Init(GPIOB, &GPIO_InitStruct);

  /*Configure GPIO pin : BOOT1_Pin */
  GPIO_InitStruct.Pin = BOOT1_Pin;
  GPIO_InitStruct.Mode = GPIO_MODE_INPUT;
  GPIO_InitStruct.Pull = GPIO_NOPULL;
  HAL_GPIO_Init(BOOT1_GPIO_Port, &GPIO_InitStruct);

  /*Configure GPIO pins : A10_Pin A11_Pin BA0_Pin BA1_Pin
                           SDCLK_Pin SDNCAS_Pin */
  GPIO_InitStruct.Pin = A10_Pin|A11_Pin|BA0_Pin|BA1_Pin
                          |SDCLK_Pin|SDNCAS_Pin;
  GPIO_InitStruct.Mode = GPIO_MODE_AF_PP;
  GPIO_InitStruct.Pull = GPIO_NOPULL;
  GPIO_InitStruct.Speed = GPIO_SPEED_FREQ_VERY_HIGH;
  GPIO_InitStruct.Alternate = GPIO_AF12_FMC;
  HAL_GPIO_Init(GPIOG, &GPIO_InitStruct);

  /*Configure GPIO pins : D4_Pin D5_Pin D6_Pin D7_Pin
                           D8_Pin D9_Pin D10_Pin D11_Pin
                           D12_Pin NBL0_Pin NBL1_Pin */
  GPIO_InitStruct.Pin = D4_Pin|D5_Pin|D6_Pin|D7_Pin
                          |D8_Pin|D9_Pin|D10_Pin|D11_Pin
                          |D12_Pin|NBL0_Pin|NBL1_Pin;
  GPIO_InitStruct.Mode = GPIO_MODE_AF_PP;
  GPIO_InitStruct.Pull = GPIO_NOPULL;
  GPIO_InitStruct.Speed = GPIO_SPEED_FREQ_VERY_HIGH;
  GPIO_InitStruct.Alternate = GPIO_AF12_FMC;
  HAL_GPIO_Init(GPIOE, &GPIO_InitStruct);

  /*Configure GPIO pins : G4_Pin G5_Pin B6_Pin B7_Pin */
  GPIO_InitStruct.Pin = G4_Pin|G5_Pin|B6_Pin|B7_Pin;
  GPIO_InitStruct.Mode = GPIO_MODE_AF_PP;
  GPIO_InitStruct.Pull = GPIO_NOPULL;
  GPIO_InitStruct.Speed = GPIO_SPEED_FREQ_LOW;
  GPIO_InitStruct.Alternate = GPIO_AF14_LTDC;
  HAL_GPIO_Init(GPIOB, &GPIO_InitStruct);

  /*Configure GPIO pins : OTG_HS_ID_Pin OTG_HS_DM_Pin OTG_HS_DP_Pin */
  GPIO_InitStruct.Pin = OTG_HS_ID_Pin|OTG_HS_DM_Pin|OTG_HS_DP_Pin;
  GPIO_InitStruct.Mode = GPIO_MODE_AF_PP;
  GPIO_InitStruct.Pull = GPIO_NOPULL;
  GPIO_InitStruct.Speed = GPIO_SPEED_FREQ_LOW;
  GPIO_InitStruct.Alternate = GPIO_AF12_OTG_HS_FS;
  HAL_GPIO_Init(GPIOB, &GPIO_InitStruct);

  /*Configure GPIO pin : VBUS_HS_Pin */
  GPIO_InitStruct.Pin = VBUS_HS_Pin;
  GPIO_InitStruct.Mode = GPIO_MODE_INPUT;
  GPIO_InitStruct.Pull = GPIO_NOPULL;
  HAL_GPIO_Init(VBUS_HS_GPIO_Port, &GPIO_InitStruct);

  /*Configure GPIO pins : D13_Pin D14_Pin D15_Pin D0_Pin
                           D1_Pin D2_Pin D3_Pin */
  GPIO_InitStruct.Pin = D13_Pin|D14_Pin|D15_Pin|D0_Pin
                          |D1_Pin|D2_Pin|D3_Pin;
  GPIO_InitStruct.Mode = GPIO_MODE_AF_PP;
  GPIO_InitStruct.Pull = GPIO_NOPULL;
  GPIO_InitStruct.Speed = GPIO_SPEED_FREQ_VERY_HIGH;
  GPIO_InitStruct.Alternate = GPIO_AF12_FMC;
  HAL_GPIO_Init(GPIOD, &GPIO_InitStruct);

  /*Configure GPIO pin : TE_Pin */
  GPIO_InitStruct.Pin = TE_Pin;
  GPIO_InitStruct.Mode = GPIO_MODE_INPUT;
  GPIO_InitStruct.Pull = GPIO_NOPULL;
  HAL_GPIO_Init(TE_GPIO_Port, &GPIO_InitStruct);

  /*Configure GPIO pins : RDX_Pin WRX_DCX_Pin */
  GPIO_InitStruct.Pin = RDX_Pin|WRX_DCX_Pin;
  GPIO_InitStruct.Mode = GPIO_MODE_OUTPUT_PP;
  GPIO_InitStruct.Pull = GPIO_NOPULL;
  GPIO_InitStruct.Speed = GPIO_SPEED_FREQ_LOW;
  HAL_GPIO_Init(GPIOD, &GPIO_InitStruct);

  /*Configure GPIO pins : R7_Pin DOTCLK_Pin B3_Pin */
  GPIO_InitStruct.Pin = R7_Pin|DOTCLK_Pin|B3_Pin;
  GPIO_InitStruct.Mode = GPIO_MODE_AF_PP;
  GPIO_InitStruct.Pull = GPIO_NOPULL;
  GPIO_InitStruct.Speed = GPIO_SPEED_FREQ_LOW;
  GPIO_InitStruct.Alternate = GPIO_AF14_LTDC;
  HAL_GPIO_Init(GPIOG, &GPIO_InitStruct);

  /*Configure GPIO pins : HSYNC_Pin G6_Pin R2_Pin */
  GPIO_InitStruct.Pin = HSYNC_Pin|G6_Pin|R2_Pin;
  GPIO_InitStruct.Mode = GPIO_MODE_AF_PP;
  GPIO_InitStruct.Pull = GPIO_NOPULL;
  GPIO_InitStruct.Speed = GPIO_SPEED_FREQ_LOW;
  GPIO_InitStruct.Alternate = GPIO_AF14_LTDC;
  HAL_GPIO_Init(GPIOC, &GPIO_InitStruct);

  /*Configure GPIO pin : I2C3_SDA_Pin */
  GPIO_InitStruct.Pin = I2C3_SDA_Pin;
  GPIO_InitStruct.Mode = GPIO_MODE_AF_OD;
  GPIO_InitStruct.Pull = GPIO_NOPULL;
  GPIO_InitStruct.Speed = GPIO_SPEED_FREQ_LOW;
  GPIO_InitStruct.Alternate = GPIO_AF4_I2C3;
  HAL_GPIO_Init(I2C3_SDA_GPIO_Port, &GPIO_InitStruct);

  /*Configure GPIO pin : I2C3_SCL_Pin */
  GPIO_InitStruct.Pin = I2C3_SCL_Pin;
  GPIO_InitStruct.Mode = GPIO_MODE_AF_OD;
  GPIO_InitStruct.Pull = GPIO_NOPULL;
  GPIO_InitStruct.Speed = GPIO_SPEED_FREQ_LOW;
  GPIO_InitStruct.Alternate = GPIO_AF4_I2C3;
  HAL_GPIO_Init(I2C3_SCL_GPIO_Port, &GPIO_InitStruct);

  /*Configure GPIO pins : G7_Pin B2_Pin */
  GPIO_InitStruct.Pin = G7_Pin|B2_Pin;
  GPIO_InitStruct.Mode = GPIO_MODE_AF_PP;
  GPIO_InitStruct.Pull = GPIO_NOPULL;
  GPIO_InitStruct.Speed = GPIO_SPEED_FREQ_LOW;
  GPIO_InitStruct.Alternate = GPIO_AF14_LTDC;
  HAL_GPIO_Init(GPIOD, &GPIO_InitStruct);

  /*Configure GPIO pins : G3_Pin B4_Pin */
  GPIO_InitStruct.Pin = G3_Pin|B4_Pin;
  GPIO_InitStruct.Mode = GPIO_MODE_AF_PP;
  GPIO_InitStruct.Pull = GPIO_NOPULL;
  GPIO_InitStruct.Speed = GPIO_SPEED_FREQ_LOW;
  GPIO_InitStruct.Alternate = GPIO_AF9_LTDC;
  HAL_GPIO_Init(GPIOG, &GPIO_InitStruct);

  /*Configure GPIO pins : LD3_Pin LD4_Pin */
  GPIO_InitStruct.Pin = LD3_Pin|LD4_Pin;
  GPIO_InitStruct.Mode = GPIO_MODE_OUTPUT_PP;
  GPIO_InitStruct.Pull = GPIO_NOPULL;
  GPIO_InitStruct.Speed = GPIO_SPEED_FREQ_LOW;
  HAL_GPIO_Init(GPIOG, &GPIO_InitStruct);

  /*Configure GPIO pins : SDCKE1_Pin SDNE1_Pin */
  GPIO_InitStruct.Pin = SDCKE1_Pin|SDNE1_Pin;
  GPIO_InitStruct.Mode = GPIO_MODE_AF_PP;
  GPIO_InitStruct.Pull = GPIO_NOPULL;
  GPIO_InitStruct.Speed = GPIO_SPEED_FREQ_VERY_HIGH;
  GPIO_InitStruct.Alternate = GPIO_AF12_FMC;
  HAL_GPIO_Init(GPIOB, &GPIO_InitStruct);

}

void Error_Handler(void)
{
  __disable_irq();
  while (1)
  {
  }
}
